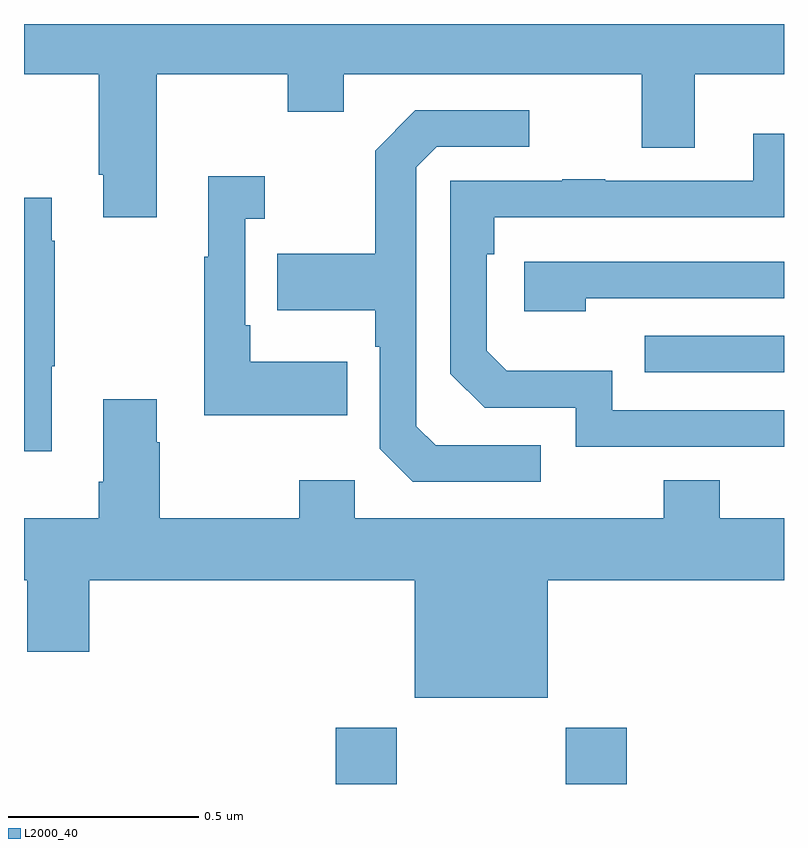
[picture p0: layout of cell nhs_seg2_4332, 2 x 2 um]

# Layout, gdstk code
import gdstk
lib = gdstk.Library(unit=1e-6, precision=1e-09)
def R(c, l, rs):  # rectangles x0, y0, x1, y1
    for r in rs: c.add(gdstk.rectangle(r[:2], r[2:], *l))
def P(c, l, *ps):  # polygons
    for p in ps: c.add(gdstk.Polygon(p, *l))
L2000_40 = (2000, 40)

nhs_seg2_4332 = lib.new_cell('nhs_seg2_4332')
R(nhs_seg2_4332, L2000_40, [(165.821,613.8,165.981,613.948), (166.426,613.8,166.586,613.948), (166.633,614.883,167,614.979)])
P(nhs_seg2_4332, L2000_40, [(165.349,615.668),(165.694,615.668),(165.694,615.569),(165.841,615.569),(165.841,615.668),(166.625,615.668),(166.625,615.474),(166.765,615.474),(166.765,615.668),(167,615.668),(167,615.8),(165,615.8),(165,615.668),(165.197,615.668),(165.197,615.403),(165.209,615.403),(165.209,615.291),(165.349,615.291)],
  [(166.36,614.691),(166.083,614.691),(166.032,614.742),(166.032,615.423),(166.086,615.477),(166.33,615.477),(166.33,615.573),(166.029,615.573),(165.924,615.467),(165.924,615.195),(165.667,615.195),(165.667,615.047),(165.924,615.047),(165.924,614.951),(165.936,614.951),(165.936,614.682),(166.023,614.595),(166.36,614.595)],
  [(167,614.784),(166.548,614.784),(166.548,614.887),(166.271,614.887),(166.218,614.94),(166.218,615.194),(166.238,615.194),(166.238,615.291),(166.913,615.291),(166.913,615.292),(167,615.292),(167,615.511),(166.919,615.511),(166.919,615.387),(166.529,615.387),(166.529,615.392),(166.417,615.392),(166.417,615.387),(166.122,615.387),(166.122,614.88),(166.212,614.79),(166.452,614.79),(166.452,614.688),(167,614.688)],
  [(165.851,614.911),(165.595,614.911),(165.595,615.007),(165.582,615.007),(165.582,615.287),(165.634,615.287),(165.634,615.4),(165.485,615.4),(165.485,615.187),(165.474,615.187),(165.474,614.771),(165.851,614.771)],
  [(165.073,614.899),(165.081,614.899),(165.081,615.23),(165.073,615.23),(165.073,615.343),(165,615.343),(165,614.676),(165.073,614.676)],
  [(166.478,615.078),(167,615.078),(167,615.174),(166.317,615.174),(166.317,615.044),(166.478,615.044)],
  [(166.378,614.336),(167,614.336),(167,614.5),(166.831,614.5),(166.831,614.599),(166.684,614.599),(166.684,614.5),(165.87,614.5),(165.87,614.599),(165.724,614.599),(165.724,614.5),(165.357,614.5),(165.357,614.699),(165.349,614.699),(165.349,614.812),(165.209,614.812),(165.209,614.596),(165.197,614.596),(165.197,614.5),(165,614.5),(165,614.336),(165.008,614.336),(165.008,614.148),(165.172,614.148),(165.172,614.336),(166.028,614.336),(166.028,614.027),(166.378,614.027)])

lib.write_gds('nhs_seg2_4332.gds')
